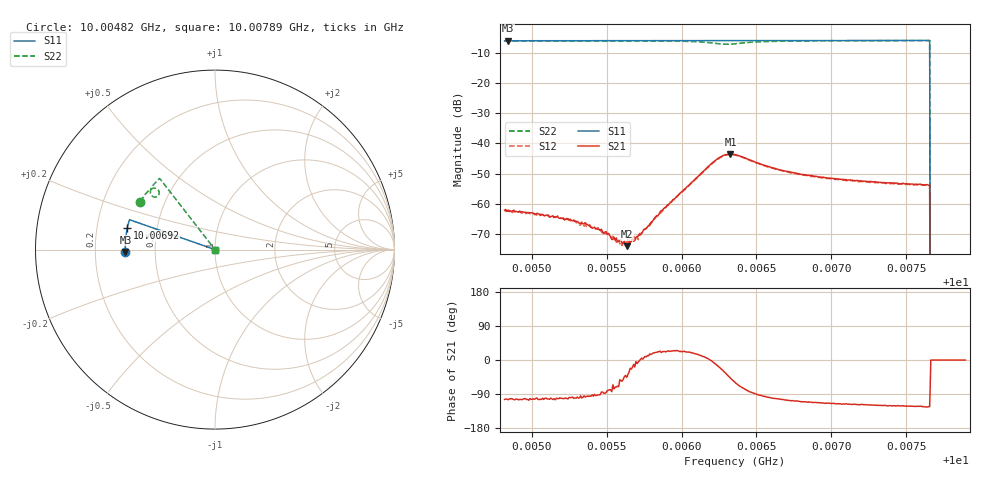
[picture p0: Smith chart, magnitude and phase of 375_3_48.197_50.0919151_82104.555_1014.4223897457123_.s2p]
#  HZ  S  RI  R  50.00
! Rohde & Schwarz Vector Network Analyzer
! Rohde-Schwarz,ZNB20-2Port,1311601062101988,3.16
! Created: UTC 3/20/2024, 11:52:53 AM
! freq[Hz]  re:S11  im:S11  re:S21  im:S21  re:S12  im:S12  re:S22  im:S22
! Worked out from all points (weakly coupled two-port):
!   401 points, 10.00482 GHz to 10.00789 GHz, reference 50 ohm
!   highest |S21| = -43.49 dB at 10.00633 GHz (marker M1); lowest = -73.9 dB at 10.00563 GHz (marker M2)
!   lowest |S11| = -6.0 dB at 10.00484 GHz (marker M3), VSWR 2.99, Z = 16.7 - j0.556 ohm
!   |S11| at or under -10 dB: 10.00766 GHz to end of sweep
!   |S22| runs from - to -6.0 dB; largest |S21 - S12| = 0.00042
!   S11 on the Smith chart (normalised r, x): 10.00482 GHz: 0.33, -0.01; 10.00692 GHz: 0.33, +0.11; 10.00789 GHz: 1.00, +0.00
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1.000482e10  -0.499 -0.0139  -0.000192 -0.00077  -0.000137 -0.000761  -0.4155 0.2669
1.0004843e10  -0.499 -0.0125  -0.000204 -0.000765  -0.000149 -0.000745  -0.4147 0.2683
1.0005166e10  -0.4998 0.0086  -0.000115 -0.000602  -7.71e-05 -0.0006  -0.4029 0.2876
1.0005335e10  -0.4999 0.0195  -8.51e-05 -0.000467  -4.82e-05 -0.000501  -0.3962 0.2975
1.000545e10  -0.4998 0.027  -1.38e-05 -0.000382  5.63e-07 -0.000356  -0.3912 0.3043
1.0005542e10  -0.4995 0.033  0.000108 -0.000236  7.93e-05 -0.000283  -0.3866 0.3101
1.0005588e10  -0.4996 0.0359  0.000151 -0.000194  0.000112 -0.000187  -0.3843 0.3128
1.0005619e10  -0.4994 0.0381  0.000179 -0.00017  0.000172 -0.00014  -0.3828 0.3149
1.0005634e10  -0.4993 0.0391  0.00014 -0.000144  0.000179 -0.000138  -0.3819 0.3156
1.0005711e10  -0.4989 0.044  0.000292 -2.72e-05  0.000258 -3.92e-07  -0.3776 0.3205
1.000585e10  -0.4984 0.0529  0.000624 0.000257  0.000645 0.000264  -0.3683 0.3294
1.0006211e10  -0.4958 0.0762  0.00487 -0.00049  0.00481 -0.000217  -0.3153 0.331
1.0006272e10  -0.4952 0.0799  0.00558 -0.00275  0.00559 -0.00245  -0.3111 0.3106
1.0006326e10  -0.4948 0.0831  0.00451 -0.00494  0.00466 -0.00461  -0.3239 0.2949
1.0006357e10  -0.4945 0.085  0.00338 -0.00561  0.00362 -0.00532  -0.3345 0.2927
1.0006641e10  -0.4921 0.1031  -0.000814 -0.00365  -0.000635 -0.00363  -0.3581 0.3341
1.0006872e10  -0.4893 0.1178  -0.0011 -0.00273  -0.000924 -0.00271  -0.3477 0.3542
1.0006918e10  -0.4888 0.1208  -0.00107 -0.00258  -0.000977 -0.00256  -0.3455 0.3573
1.0007387e10  -0.4814 0.1502  -0.00114 -0.00193  -0.000997 -0.00195  -0.3221 0.3838
1.0007641e10  -0.477 0.1657  -0.00117 -0.00173  -0.00104 -0.00173  -0.3093 0.396
1.0007679e10  0 0  0 0  0 0  0 0
1.0007894e10  0 0  0 0  0 0  0 0
